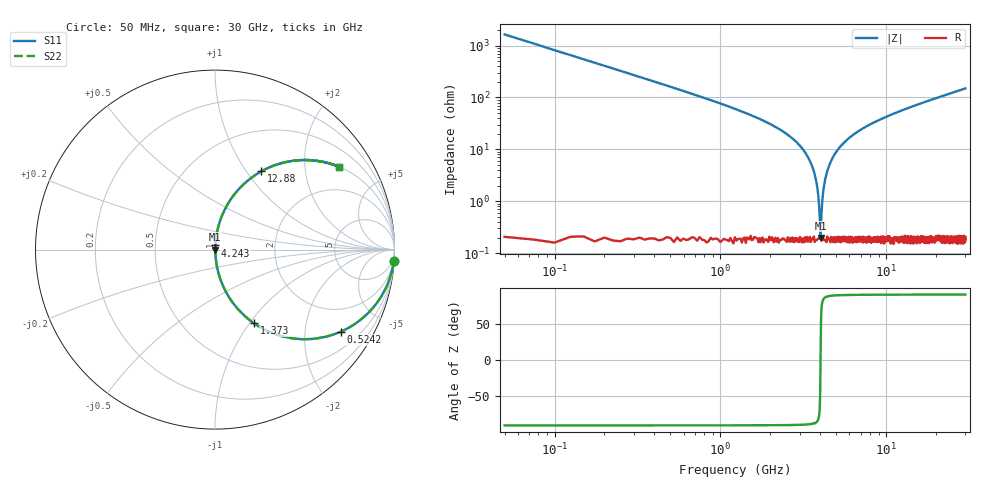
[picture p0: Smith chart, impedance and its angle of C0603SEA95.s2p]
!	AVX Thin Film Operation 	Date: April 2014
!	Description: Accu-P® Series, Thin Film  SMD RF Capacitor
!	Part Number: 06031JA95PBSTR
# MHZ S MA R 50
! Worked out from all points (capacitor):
!   1201 points, 50 MHz to 30 GHz, reference 50 ohm
!   read as one part in series: C = 1.95 pF near 199.8 MHz
!   lowest |Z| = 197 mohm at 4.018 GHz (marker M1)
!   series resonance near 4.015 GHz, so ESL is about 810 pH
!   S11 on the Smith chart (normalised r, x): 50 MHz: 1, -33; 524.2 MHz: 1.00, -3.06; 1.373 GHz: 1.00, -1.05; 4.243 GHz: 1.00, +0.05; 12.88 GHz: 1.00, +1.18; 30 GHz: 1.00, +2.98
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50  0.998 -3.5  0.061 86.5  0.061 86.5  0.998 -3.5
274.625  0.947 -18.7  0.32 71.3  0.32 71.3  0.947 -18.7
524.208  0.837 -33.1  0.547 56.8  0.547 56.8  0.837 -33.1
848.667  0.676 -47.4  0.736 42.5  0.736 42.5  0.676 -47.4
1372.792  0.464 -62.1  0.884 27.7  0.884 27.7  0.464 -62.1
2595.75  0.18 -79.1  0.982 10.3  0.982 10.3  0.18 -79.1
3294.583  0.08 -84.1  0.995 4.6  0.995 4.6  0.08 -84.1
3668.958  0.037 -85.0  0.997 2.1  0.997 2.1  0.037 -85.0
3793.75  0.023 -84.1  0.998 1.3  0.998 1.3  0.023 -84.1
3918.542  0.009995 -78.8  0.998 0.6  0.998 0.6  0.009995 -78.8
4018.375  0.001887 11.8  0.998 -0.0  0.998 -0.0  0.001887 11.8
4118.208  0.011 79.3  0.998 -0.6  0.998 -0.6  0.011 79.3
4243  0.023 84.0  0.998 -1.3  0.998 -1.3  0.023 84.0
4542.5  0.05 85.0  0.997 -2.9  0.997 -2.9  0.05 85.0
5041.667  0.093 83.5  0.994 -5.3  0.994 -5.3  0.093 83.5
6813.708  0.219 76.9  0.974 -12.7  0.974 -12.7  0.219 76.9
10058.29  0.393 66.6  0.918 -23.1  0.918 -23.1  0.393 66.6
12878.58  0.507 59.4  0.861 -30.4  0.861 -30.4  0.507 59.4
15025  0.576 54.7  0.816 -35.2  0.816 -35.2  0.576 54.7
20016.67  0.697 45.7  0.716 -44.2  0.716 -44.2  0.697 45.7
25033.29  0.777 39.0  0.629 -51.0  0.629 -51.0  0.777 39.0
30000  0.83 33.8  0.556 -56.1  0.556 -56.1  0.83 33.8
